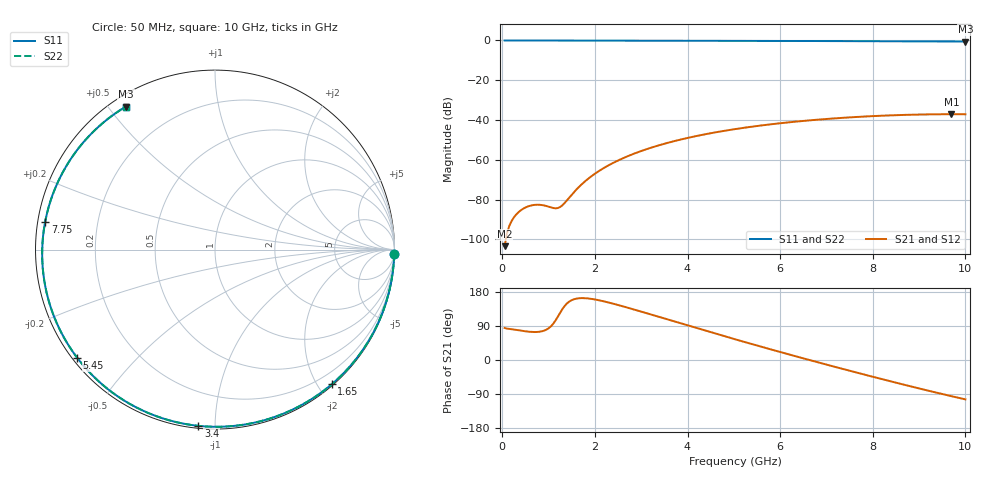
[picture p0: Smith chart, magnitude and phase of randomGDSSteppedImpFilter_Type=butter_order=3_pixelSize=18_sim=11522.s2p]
! freq	dB(S11)	phase(S11)	dB(S12)	phase(S12)
!  dB(S21)	phase(S21)	dB(S22)	phase(S22)
!S-par simulation data
#  GHz  S  DB  R 50
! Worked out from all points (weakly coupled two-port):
!   200 points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, 50 MHz to 10 GHz, reference 50 ohm
!   highest |S21| = -37.07 dB at 9.7 GHz (marker M1); lowest = -103.4 dB at 50 MHz (marker M2)
!   lowest |S11| = -0.5 dB at 10 GHz (marker M3), VSWR 31.72, Z = 2.06 + j27.7 ohm
!   |S11| at or under -10 dB: nowhere
!   |S22| runs from -0.5 to 0.0 dB; largest |S21 - S12| = 0
!   S11 on the Smith chart (normalised r, x): 50 MHz: 1, -77; 1.65 GHz: 0.02, -2.19; 3.4 GHz: 0.01, -0.91; 5.45 GHz: 0.01, -0.35; 7.75 GHz: 0.02, +0.08; 10 GHz: 0.04, +0.55
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0.05  -0.00 -1.5  -103.37 84.6  -103.37 84.6  -0.00 -1.5
0.4  -0.02 -12.2  -85.35 77.5  -85.35 77.5  -0.02 -12.2
0.7  -0.03 -21.2  -82.62 73.8  -82.62 73.8  -0.03 -21.2
1.05  -0.04 -31.7  -83.89 88.9  -83.89 88.9  -0.04 -31.7
1.4  -0.05 -41.9  -80.23 149.7  -80.23 149.7  -0.05 -41.9
1.65  -0.06 -49.1  -73.72 162.9  -73.72 162.9  -0.06 -49.1
1.75  -0.07 -51.9  -71.53 163.3  -71.53 163.3  -0.07 -51.9
2.05  -0.08 -60.3  -66.17 158.6  -66.17 158.6  -0.08 -60.3
2.45  -0.09 -71.1  -60.88 146.8  -60.88 146.8  -0.09 -71.1
2.9  -0.10 -82.9  -56.40 131.3  -56.40 131.3  -0.10 -82.9
3.4  -0.12 -95.4  -52.56 113.2  -52.56 113.2  -0.12 -95.4
4.2  -0.15 -114.3  -47.98 84.1  -47.98 84.1  -0.15 -114.3
5.05  -0.19 -133.3  -44.46 53.9  -44.46 53.9  -0.19 -133.3
5.45  -0.21 -141.8  -43.14 39.9  -43.14 39.9  -0.21 -141.8
6.1  -0.25 -155.5  -41.35 17.7  -41.35 17.7  -0.25 -155.5
6.7  -0.29 -167.8  -40.02 -2.3  -40.02 -2.3  -0.29 -167.8
7.25  -0.33 -179.1  -39.03 -20.3  -39.03 -20.3  -0.33 -179.1
7.75  -0.37 170.6  -38.32 -36.3  -38.32 -36.3  -0.37 170.6
8.35  -0.41 158.1  -37.67 -55.2  -37.67 -55.2  -0.41 158.1
9  -0.47 144.2  -37.23 -75.1  -37.23 -75.1  -0.47 144.2
9.7  -0.52 128.7  -37.07 -95.5  -37.07 -95.5  -0.52 128.7
10  -0.55 121.9  -37.09 -103.9  -37.09 -103.9  -0.55 121.9
